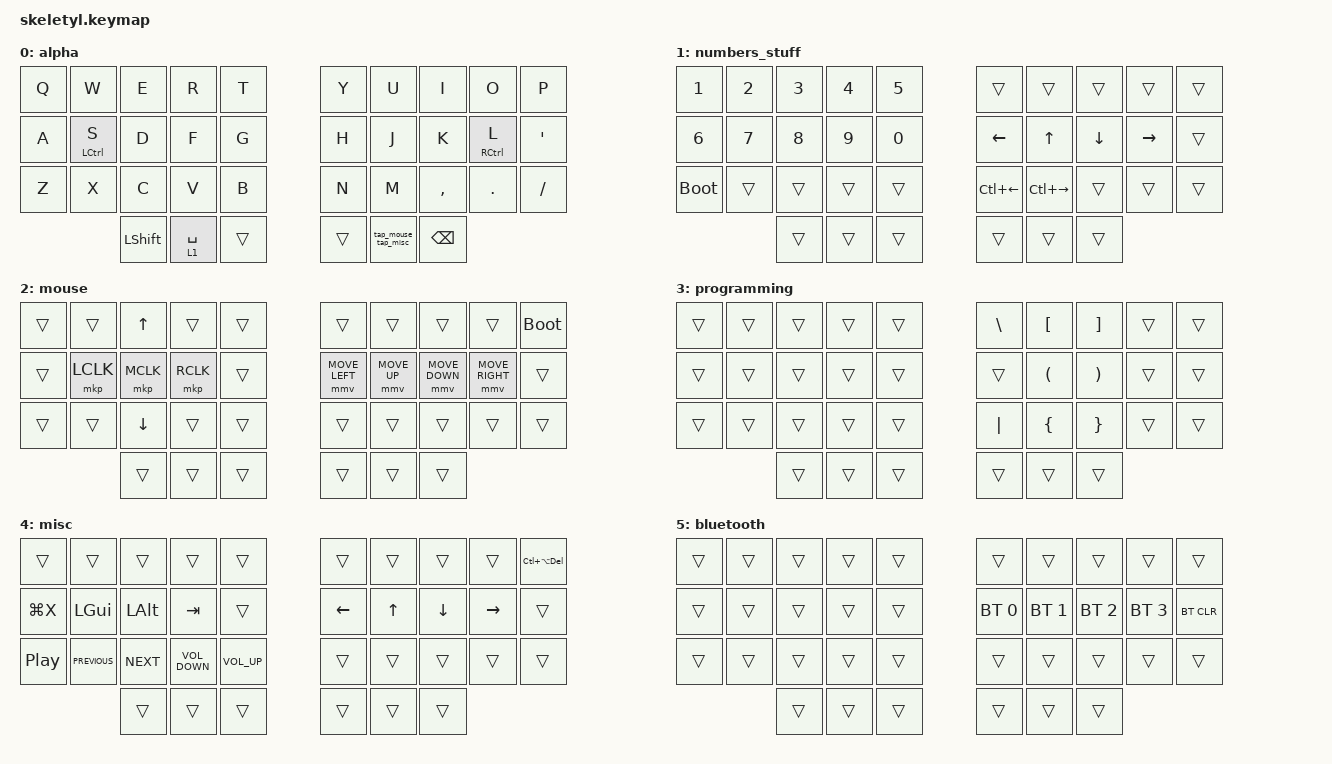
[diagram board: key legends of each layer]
#include <behaviors/mouse_keys.dtsi>
#include <dt-bindings/zmk/mouse.h>
#include <behaviors.dtsi>
#include <dt-bindings/zmk/bt.h>
#include <dt-bindings/zmk/keys.h>
#include <dt-bindings/zmk/pointing.h>

#define ZMK_POINTING_DEFAULT_MOVE_VAL 1650  // default is 600

&mmv { delay-ms = <0>; };

/ {
    behaviors {
        mouse_mode: mouse_mode {
            compatible = "zmk,behavior-hold-tap";
            label = "MOUSE_MODE";
            bindings = <&mo>, <&kp>;

            #binding-cells = <2>;
            tapping-term-ms = <125>;
            flavor = "tap-preferred";
            quick-tap-ms = <75>;
        };

        tap_hol_kp: tap_hol_kp {
            compatible = "zmk,behavior-hold-tap";
            label = "TAP_HOL_KP";
            bindings = <&kp>, <&kp>;

            #binding-cells = <2>;
            tapping-term-ms = <125>;
            quick-tap-ms = <75>;
            require-prior-idle-ms = <150>;
            flavor = "tap-preferred";
        };

        tap_mouse_tap_misc: tap_mouse_tap_misc {
            compatible = "zmk,behavior-tap-dance";
            label = "TAP_MOUSE_TAP_MISC";
            #binding-cells = <0>;
            bindings = <&mo 2>, <&mo 4>, <&kp ENTER>;

            tapping-term-ms = <225>;
        };
    };

    combos {
        compatible = "zmk,combos";

        dash_moment {
            bindings = <&kp MINUS>;
            key-positions = <18 19>;
            layers = <0>;
        };

        tab_moment {
            bindings = <&kp TAB>;
            key-positions = <10 11 12>;
            layers = <0>;
        };

        semicolon {
            bindings = <&kp SEMICOLON>;
            key-positions = <29 19>;
            layers = <0>;
        };

        tilde_moment {
            bindings = <&kp GRAVE>;
            key-positions = <0 1>;
            layers = <0>;
        };

        ctrl_tab {
            bindings = <&kp LC(TAB)>;
            key-positions = <10 20>;
            layers = <0>;
        };

        zero_and_plus {
            bindings = <&kp EQUAL>;
            key-positions = <19 18 17>;
            layers = <0 1 3>;
        };

        bluetooth_moment {
            bindings = <&tog 5>;
            key-positions = <31 34 30 35>;
        };

        delete {
            bindings = <&kp DELETE>;
            key-positions = <27 28>;
            layers = <0>;
        };

        caps {
            bindings = <&kp CAPSLOCK>;
            key-positions = <20 21 22 23>;
        };

        programming_symb {
            bindings = <&mo 3>;
            key-positions = <21 22>;
            layers = <0>;
        };

        enter {
            bindings = <&kp ENTER>;
            key-positions = <16 17 18>;
            layers = <0>;
        };

        escap_key {
            bindings = <&kp ESCAPE>;
            key-positions = <7 8 6>;
            layers = <0>;
        };
    };

    keymap {
        compatible = "zmk,keymap";

        alpha {
            bindings = <
&kp Q  &kp W                &kp E           &kp R                &kp T   &kp Y   &kp U                &kp I          &kp O                &kp P
&kp A  &tap_hol_kp LCTRL S  &kp D           &kp F                &kp G   &kp H   &kp J                &kp K          &tap_hol_kp RCTRL L  &kp SQT
&kp Z  &kp X                &kp C           &kp V                &kp B   &kp N   &kp M                &kp COMMA      &kp DOT              &kp FSLH

                            &kp LEFT_SHIFT  &mouse_mode 1 SPACE  &trans  &trans  &tap_mouse_tap_misc  &kp BACKSPACE
            >;
        };

        numbers_stuff {
            bindings = <
&kp N1       &kp N2  &kp N3  &kp N4  &kp N5  &trans        &trans         &trans    &trans     &trans
&kp N6       &kp N7  &kp N8  &kp N9  &kp N0  &kp LEFT      &kp UP_ARROW   &kp DOWN  &kp RIGHT  &trans
&bootloader  &trans  &trans  &trans  &trans  &kp LC(LEFT)  &kp LC(RIGHT)  &trans    &trans     &trans

                     &trans  &trans  &trans  &trans        &trans         &trans
            >;
        };

        mouse {
            bindings = <
&trans  &trans     &kp UP_ARROW  &trans     &trans  &trans          &trans        &trans          &trans           &bootloader
&trans  &mkp LCLK  &mkp MCLK     &mkp RCLK  &trans  &mmv MOVE_LEFT  &mmv MOVE_UP  &mmv MOVE_DOWN  &mmv MOVE_RIGHT  &trans
&trans  &trans     &kp DOWN      &trans     &trans  &trans          &trans        &trans          &trans           &trans

                   &trans        &trans     &trans  &trans          &trans        &trans
            >;
        };

        programming {
            bindings = <
&trans  &trans  &trans  &trans  &trans  &kp BACKSLASH  &kp LEFT_BRACKET      &kp RIGHT_BRACKET      &trans  &trans
&trans  &trans  &trans  &trans  &trans  &trans         &kp LEFT_PARENTHESIS  &kp RIGHT_PARENTHESIS  &trans  &trans
&trans  &trans  &trans  &trans  &trans  &kp PIPE       &kp LEFT_BRACE        &kp RIGHT_BRACE        &trans  &trans

                &trans  &trans  &trans  &trans         &trans                &trans
            >;
        };

        misc {
            bindings = <
&trans            &trans          &trans        &trans             &trans           &trans    &trans  &trans    &trans     &kp LC(LA(DELETE))
&kp LG(X)         &kp LEFT_GUI    &kp LEFT_ALT  &kp TAB            &trans           &kp LEFT  &kp UP  &kp DOWN  &kp RIGHT  &trans
&kp C_PLAY_PAUSE  &kp C_PREVIOUS  &kp C_NEXT    &kp C_VOLUME_DOWN  &kp C_VOLUME_UP  &trans    &trans  &trans    &trans     &trans

                                  &trans        &trans             &trans           &trans    &trans  &trans
            >;
        };

        bluetooth {
            bindings = <
&trans  &trans  &trans  &trans  &trans  &trans        &trans        &trans        &trans        &trans
&trans  &trans  &trans  &trans  &trans  &bt BT_SEL 0  &bt BT_SEL 1  &bt BT_SEL 2  &bt BT_SEL 3  &bt BT_CLR
&trans  &trans  &trans  &trans  &trans  &trans        &trans        &trans        &trans        &trans

                &trans  &trans  &trans  &trans        &trans        &trans
            >;
        };
    };
};
